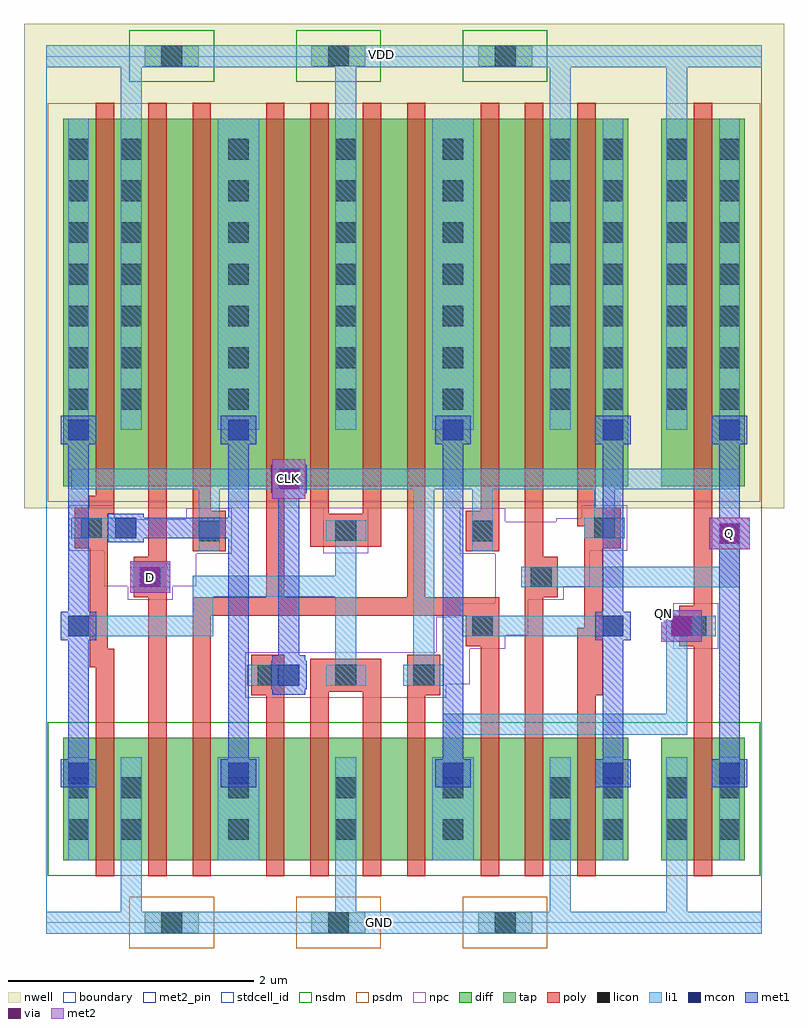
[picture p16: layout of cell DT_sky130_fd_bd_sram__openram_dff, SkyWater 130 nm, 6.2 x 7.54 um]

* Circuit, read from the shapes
.subckt DT_sky130_fd_bd_sram__openram_dff CLK D GND Q QN VDD
XM1 GND n1 n2 GND sky130_fd_pr__nfet_01v8 w=1 l=0.15
XM2 n3 D GND GND sky130_fd_pr__nfet_01v8 w=1 l=0.15
XM3 n1 n4 n3 GND sky130_fd_pr__nfet_01v8 w=1 l=0.15
XM4 n5 CLK n1 GND sky130_fd_pr__nfet_01v8 w=1 l=0.15
XM5 GND n2 n5 GND sky130_fd_pr__nfet_01v8 w=1 l=0.15
XM6 n6 n2 GND GND sky130_fd_pr__nfet_01v8 w=1 l=0.15
XM7 QN CLK n6 GND sky130_fd_pr__nfet_01v8 w=1 l=0.15
XM8 n7 n4 QN GND sky130_fd_pr__nfet_01v8 w=1 l=0.15
XM9 GND Q n7 GND sky130_fd_pr__nfet_01v8 w=1 l=0.15
XM10 n4 CLK GND GND sky130_fd_pr__nfet_01v8 w=1 l=0.15
XM11 Q QN GND GND sky130_fd_pr__nfet_01v8 w=1 l=0.15
XM12 VDD n1 n2 VDD sky130_fd_pr__pfet_01v8 w=3 l=0.15
XM13 n8 D VDD VDD sky130_fd_pr__pfet_01v8 w=3 l=0.15
XM14 n1 CLK n8 VDD sky130_fd_pr__pfet_01v8 w=3 l=0.15
XM15 n9 n4 n1 VDD sky130_fd_pr__pfet_01v8 w=3 l=0.15
XM16 VDD n2 n9 VDD sky130_fd_pr__pfet_01v8 w=3 l=0.15
XM17 n10 n2 VDD VDD sky130_fd_pr__pfet_01v8 w=3 l=0.15
XM18 QN n4 n10 VDD sky130_fd_pr__pfet_01v8 w=3 l=0.15
XM19 n11 CLK QN VDD sky130_fd_pr__pfet_01v8 w=3 l=0.15
XM20 VDD Q n11 VDD sky130_fd_pr__pfet_01v8 w=3 l=0.15
XM21 n4 CLK VDD VDD sky130_fd_pr__pfet_01v8 w=3 l=0.15
XM22 Q QN VDD VDD sky130_fd_pr__pfet_01v8 w=3 l=0.15
.ends

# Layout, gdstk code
import gdstk
lib = gdstk.Library(unit=1e-6, precision=1e-09)
def R(c, l, rs):  # rectangles x0, y0, x1, y1
    for r in rs: c.add(gdstk.rectangle(r[:2], r[2:], *l))
def A(c, l, x, y, w, h, nx, ny, dx, dy):  # array of equal rectangles
    R(c, l, [(x+i*dx, y+j*dy, x+i*dx+w, y+j*dy+h) for i in range(nx) for j in range(ny)])
nwell = (64, 20)
diff = (65, 20)
tap = (65, 44)
poly = (66, 20)
licon = (66, 44)
li1 = (67, 20)
mcon = (67, 44)
met1 = (68, 20)
via = (68, 44)
met2_pin = (69, 16)
met2 = (69, 20)
stdcell_id = (81, 4)
nsdm = (93, 44)
psdm = (94, 20)
npc = (95, 20)
boundary = (235, 4)

dt_sky130_fd_bd_sram__op = lib.new_cell('DT_sky130_fd_bd_sram__openram_dff')
R(dt_sky130_fd_bd_sram__op, nwell, [(-0.18,3.38,6.02,7.335)])
R(dt_sky130_fd_bd_sram__op, diff, [(0.14,0.51,4.75,1.51), (5.02,0.51,5.7,1.51), (0.14,3.56,4.75,6.56), (5.02,3.56,5.7,6.56)])
A(dt_sky130_fd_bd_sram__op, tap, 0.805, -0.085, 0.44, 0.17, 3, 2, 1.36, 7.07)
R(dt_sky130_fd_bd_sram__op, poly, [(0.405,0.38,0.555,2.085), (0.835,0.38,0.985,2.655), (1.195,0.38,1.345,2.505), (1.795,0.38,1.945,1.855), (2.155,0.38,2.305,1.885), (2.585,0.38,2.735,1.885), (2.945,0.38,3.095,1.855), (3.545,0.38,3.695,2.255), (3.905,0.38,4.055,2.655), (4.335,0.38,4.485,1.855), (5.285,0.38,5.435,2.255), (1.675,1.855,1.945,2.185), (2.945,1.855,3.215,2.185), (4.335,1.855,4.54,2.405), (2.155,1.885,2.735,2.155), (0.355,2.085,0.555,2.235), (0.355,2.235,0.505,3.055), (3.425,2.255,3.695,2.505), (5.165,2.255,5.435,2.585), (4.39,2.405,4.54,3.055), (1.195,2.505,3.695,2.655), (5.285,2.585,5.435,6.69), (0.715,2.655,0.985,2.985), (1.795,2.655,1.945,6.69), (2.945,2.655,3.095,6.69), (3.905,2.655,4.175,2.985), (0.835,2.985,0.985,6.69), (3.905,2.985,4.055,6.69), (1.195,3.03,1.465,3.36), (3.425,3.03,3.695,3.36), (0.235,3.055,0.505,3.335), (4.39,3.055,4.69,3.235), (2.155,3.065,2.735,3.335), (4.335,3.235,4.69,3.385), (0.235,3.335,0.555,3.385), (2.155,3.335,2.305,6.69), (2.585,3.335,2.735,6.69), (1.195,3.36,1.345,6.69), (3.545,3.36,3.695,6.69), (0.35,3.385,0.555,3.485), (4.335,3.385,4.485,6.69), (0.405,3.485,0.555,6.69)])
A(dt_sky130_fd_bd_sram__op, licon, 0.94, -0.085, 0.17, 0.17, 3, 2, 1.36, 7.07)
A(dt_sky130_fd_bd_sram__op, licon, 0.61, 0.675, 0.17, 0.17, 5, 2, 0.875, 0.34)
A(dt_sky130_fd_bd_sram__op, licon, 1.725, 1.935, 0.17, 0.17, 3, 1, 0.635, 0)
A(dt_sky130_fd_bd_sram__op, licon, 0.18, 4.185, 0.17, 0.17, 1, 7, 0, 0.34)
A(dt_sky130_fd_bd_sram__op, licon, 0.61, 4.185, 0.17, 0.17, 5, 7, 0.875, 0.34)
A(dt_sky130_fd_bd_sram__op, licon, 4.54, 4.185, 0.17, 0.17, 1, 7, 0, 0.34)
A(dt_sky130_fd_bd_sram__op, licon, 5.06, 4.185, 0.17, 0.17, 1, 7, 0, 0.34)
A(dt_sky130_fd_bd_sram__op, licon, 5.49, 4.185, 0.17, 0.17, 1, 7, 0, 0.34)
R(dt_sky130_fd_bd_sram__op, licon, [(0.18,0.675,0.35,0.845), (4.54,0.675,4.71,0.845), (5.06,0.675,5.23,0.845), (5.49,0.675,5.66,0.845), (0.18,1.015,0.35,1.185), (4.54,1.015,4.71,1.185), (5.06,1.015,5.23,1.185), (5.49,1.015,5.66,1.185), (3.475,2.335,3.645,2.505), (5.215,2.335,5.385,2.505), (0.765,2.735,0.935,2.905), (3.955,2.735,4.125,2.905), (1.245,3.11,1.415,3.28), (3.475,3.11,3.645,3.28), (2.36,3.115,2.53,3.285), (0.285,3.135,0.455,3.305), (4.47,3.135,4.64,3.305)])
A(dt_sky130_fd_bd_sram__op, li1, 0.61, 0.09, 0.17, 1.26, 3, 1, 1.75, 0)
A(dt_sky130_fd_bd_sram__op, li1, 0.61, 4.02, 0.17, 2.96, 3, 1, 1.75, 0)
R(dt_sky130_fd_bd_sram__op, li1, [(0,-0.09,5.84,0.09), (5.06,0.09,5.23,1.35), (0.18,0.51,0.35,1.35), (1.4,0.51,1.74,1.35), (3.15,0.51,3.49,1.35), (4.54,0.51,4.71,1.355), (5.49,0.51,5.66,1.355), (3.235,1.35,3.405,1.535), (3.235,1.535,5.23,1.705), (5.06,1.705,5.23,2.335), (1.64,1.935,2.065,2.105), (2.28,1.935,2.61,2.105), (2.915,1.935,3.245,2.105), (2.36,2.105,2.53,2.66), (2.995,2.105,3.165,3.535), (0.18,2.335,1.365,2.505), (3.395,2.335,4.71,2.505), (5.06,2.335,5.465,2.505), (1.195,2.505,1.365,2.66), (1.195,2.66,2.53,2.83), (0.685,2.735,1.015,2.905), (3.875,2.735,5.66,2.905), (2.36,2.83,2.53,3.115), (5.49,2.905,5.66,3.26), (1.245,3.03,1.415,3.535), (3.475,3.03,3.645,3.535), (2.28,3.115,2.61,3.285), (0.205,3.135,0.735,3.305), (4.39,3.135,4.72,3.305), (4.47,3.305,4.64,3.535), (0.205,3.535,5.66,3.705), (0.18,3.935,0.35,6.56), (1.485,3.935,1.655,4.02), (3.235,3.935,3.405,4.02), (4.54,3.935,4.71,6.56), (5.49,3.935,5.66,6.56), (1.4,4.02,1.74,6.56), (3.15,4.02,3.49,6.56), (5.06,4.02,5.23,6.98), (0,6.98,5.84,7.16)])
R(dt_sky130_fd_bd_sram__op, mcon, [(0.18,1.135,0.35,1.305), (1.485,1.135,1.655,1.305), (3.235,1.135,3.405,1.305), (4.54,1.135,4.71,1.305), (5.49,1.135,5.66,1.305), (1.895,1.935,2.065,2.105), (0.18,2.335,0.35,2.505), (4.54,2.335,4.71,2.505), (5.1,2.335,5.27,2.505), (0.765,2.735,0.935,2.905), (5.49,3.09,5.66,3.26), (0.565,3.135,0.735,3.305), (1.895,3.535,2.065,3.705), (0.18,3.935,0.35,4.105), (1.485,3.935,1.655,4.105), (3.235,3.935,3.405,4.105), (4.54,3.935,4.71,4.105), (5.49,3.935,5.66,4.105)])
R(dt_sky130_fd_bd_sram__op, met1, [(0.12,1.105,0.41,1.335), (1.425,1.105,1.715,1.335), (3.175,1.105,3.465,1.335), (4.48,1.105,4.77,1.335), (5.43,1.105,5.72,1.335), (0.18,1.335,0.35,2.305), (1.485,1.335,1.655,3.135), (3.235,1.335,3.405,3.905), (4.54,1.335,4.71,2.305), (5.49,1.335,5.66,3.045), (1.845,1.86,2.115,1.905), (1.835,1.905,2.125,2.135), (1.845,2.135,2.115,2.18), (1.895,2.18,2.065,3.46), (5.02,2.29,5.35,2.55), (0.12,2.305,0.41,2.535), (4.48,2.305,4.77,2.535), (0.18,2.535,0.35,3.905), (4.54,2.535,4.71,3.905), (0.685,2.69,1.015,2.95), (5.41,3.045,5.74,3.305), (0.505,3.105,0.795,3.135), (0.505,3.135,1.655,3.305), (0.505,3.305,0.795,3.335), (1.485,3.305,1.655,3.905), (5.49,3.305,5.66,3.905), (1.845,3.46,2.115,3.505), (1.835,3.505,2.125,3.735), (1.845,3.735,2.115,3.78), (0.12,3.905,0.41,4.135), (1.425,3.905,1.715,4.135), (3.175,3.905,3.465,4.135), (4.48,3.905,4.77,4.135), (5.43,3.905,5.72,4.135)])
R(dt_sky130_fd_bd_sram__op, via, [(5.11,2.345,5.26,2.495), (0.775,2.745,0.925,2.895), (5.5,3.1,5.65,3.25), (1.905,3.545,2.055,3.695)])
R(dt_sky130_fd_bd_sram__op, met2_pin, [(0.685,2.69,1.015,2.95), (5.41,3.045,5.74,3.305), (1.845,3.46,2.115,3.78)])
R(dt_sky130_fd_bd_sram__op, met2, [(5.02,2.29,5.35,2.55), (0.685,2.69,1.015,2.95), (5.41,3.045,5.74,3.305), (1.845,3.46,2.115,3.78)])
R(dt_sky130_fd_bd_sram__op, stdcell_id, [(0,0,5.84,7.07)])
A(dt_sky130_fd_bd_sram__op, nsdm, 0.68, 6.86, 0.69, 0.42, 3, 1, 1.36, 0)
R(dt_sky130_fd_bd_sram__op, nsdm, [(0.015,0.385,5.825,1.635)])
A(dt_sky130_fd_bd_sram__op, psdm, 0.68, -0.21, 0.69, 0.42, 3, 1, 1.36, 0)
R(dt_sky130_fd_bd_sram__op, psdm, [(0.015,3.435,5.825,6.685)])
R(dt_sky130_fd_bd_sram__op, npc, [(1.625,1.835,1.995,2.205), (1.995,1.835,2.895,2.205), (2.895,1.835,3.265,1.945), (2.895,1.945,3.455,2.205), (3.185,2.205,3.455,2.235), (3.185,2.235,3.745,2.345), (5.115,2.235,5.485,2.605), (3.185,2.345,3.935,2.495), (3.375,2.495,3.935,2.605), (3.665,2.605,3.935,2.635), (0.665,2.635,1.035,2.745), (3.665,2.635,4.225,2.74), (3.665,2.74,4.435,3.01), (0.475,2.745,1.225,3.01), (0.475,3.01,1.515,3.035), (3.375,3.01,4.435,3.035), (2.26,3.015,2.63,3.385), (0.185,3.035,1.515,3.29), (3.375,3.035,4.74,3.27), (3.375,3.27,3.745,3.38), (4.16,3.27,4.74,3.3), (0.185,3.29,0.745,3.295), (1.145,3.29,1.515,3.38), (0.185,3.295,0.555,3.405), (4.37,3.3,4.74,3.405)])
R(dt_sky130_fd_bd_sram__op, boundary, [(0,0,5.84,7.07)])
dt_sky130_fd_bd_sram__op.add(gdstk.Label('VDD', (2.74,7.08), layer=67, texttype=16))
dt_sky130_fd_bd_sram__op.add(gdstk.Label('GND', (2.72,0), layer=67, texttype=16))
dt_sky130_fd_bd_sram__op.add(gdstk.Label('vdd', (2.92,7.07), layer=67, texttype=16))
dt_sky130_fd_bd_sram__op.add(gdstk.Label('gnd', (2.92,0), layer=67, texttype=16))
dt_sky130_fd_bd_sram__op.add(gdstk.Label('QN', (5.035,2.52), layer=69, texttype=16))
dt_sky130_fd_bd_sram__op.add(gdstk.Label('CLK', (1.98,3.62), layer=69, texttype=16))
dt_sky130_fd_bd_sram__op.add(gdstk.Label('D', (0.85,2.82), layer=69, texttype=16))
dt_sky130_fd_bd_sram__op.add(gdstk.Label('D', (0.85,2.82), layer=69, texttype=16))
dt_sky130_fd_bd_sram__op.add(gdstk.Label('Q', (5.575,3.175), layer=69, texttype=16))
dt_sky130_fd_bd_sram__op.add(gdstk.Label('Q', (5.575,3.175), layer=69, texttype=16))
dt_sky130_fd_bd_sram__op.add(gdstk.Label('clk', (1.98,3.62), layer=69, texttype=16))

lib.write_gds('DT_sky130_fd_bd_sram__openram_dff.gds')
